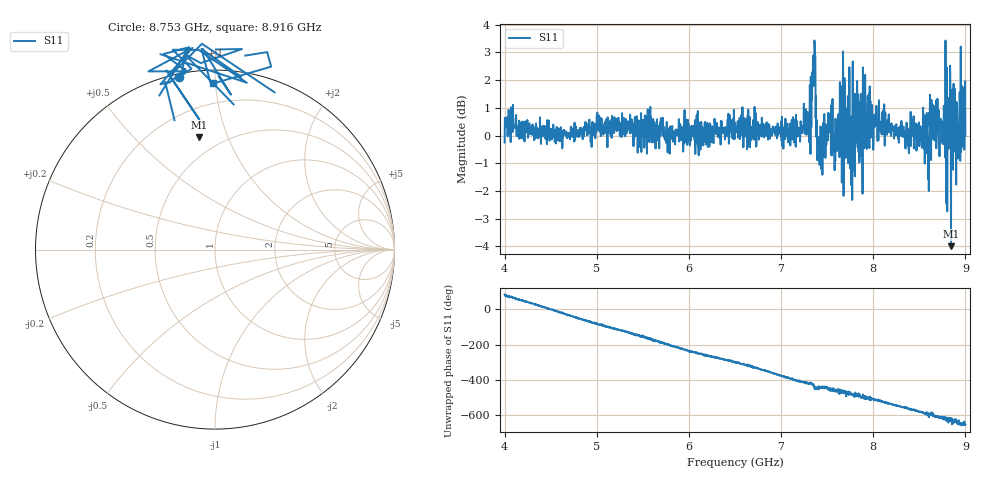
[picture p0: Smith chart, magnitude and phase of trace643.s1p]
! Created with skrf 1.8.0 (http://scikit-rf.org).
# Hz S RI R 50.0
!freq ReS11 ImS11
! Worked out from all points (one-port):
!   1601 points, 4 GHz to 9 GHz, reference 50 ohm
!   lowest |S11| = -4.0 dB at 8.844 GHz (marker M1), VSWR 4.43, Z = 19.1 + j39.7 ohm
!   |S11| at or under -10 dB: nowhere
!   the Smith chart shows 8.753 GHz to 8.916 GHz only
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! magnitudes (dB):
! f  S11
! 4 GHz  -0.3
! 4.1 GHz  0.3
! 4.153 GHz  0.1
! 4.625 GHz  -0.5
! 5.25 GHz  0.0
! 5.875 GHz  0.1
! 6.5 GHz  0.5
! 7.125 GHz  0.3
! 7.294 GHz  0.5
! 7.325 GHz  1.8
! 7.347 GHz  2.9
! 7.366 GHz  3.3
! 7.4 GHz  -0.5
! 7.416 GHz  -1.1
! 7.534 GHz  0.3
! 7.591 GHz  0.6
! 7.65 GHz  -0.2
! 7.75 GHz  -0.8
! 7.962 GHz  1.8
! 8.375 GHz  0.1
! 8.531 GHz  0.1
! 8.581 GHz  0.8
! 8.634 GHz  -0.1
! 8.738 GHz  0.5
! 8.844 GHz  -4.0
! 8.919 GHz  -0.8
! 8.972 GHz  0.8
! 9 GHz  0.0
